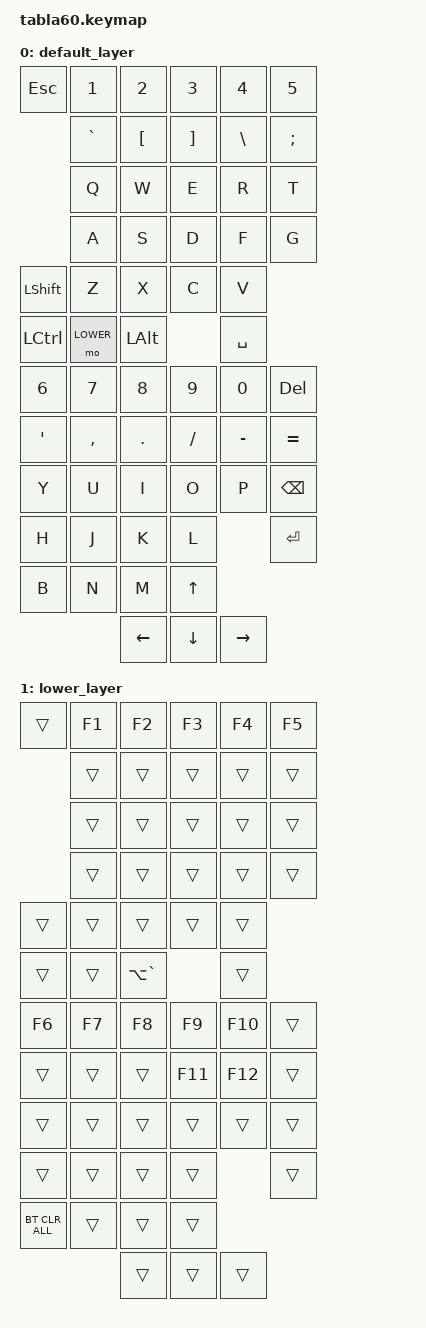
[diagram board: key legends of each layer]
#include <behaviors.dtsi>
#include <dt-bindings/zmk/keys.h>
#include <dt-bindings/zmk/bt.h>
#define DEFAULT 0
#define LOWER 1

/ {
    keymap {
        compatible = "zmk,keymap";

        default_layer {
            bindings = <
            &kp ESC   &kp N1    &kp N2    &kp N3    &kp N4    &kp N5
                      &kp GRAVE &kp LBKT  &kp RBKT  &kp BSLH  &kp SEMI
                      &kp Q     &kp W     &kp E     &kp R     &kp T
                      &kp A     &kp S     &kp D     &kp F     &kp G
            &kp LSHFT &kp Z     &kp X     &kp C     &kp V
            &kp LCTRL &mo LOWER &kp LALT            &kp SPACE
            &kp N6    &kp N7    &kp N8    &kp N9    &kp N0    &kp DEL
            &kp APOS  &kp COMMA &kp DOT   &kp SLASH &kp MINUS &kp EQUAL
            &kp Y     &kp U     &kp I     &kp O     &kp P     &kp BSPC  
            &kp H     &kp J     &kp K     &kp L               &kp ENTER
            &kp B     &kp N     &kp M     &kp UP
                                &kp LEFT  &kp DOWN  &kp RIGHT
            >;
        };

        lower_layer {
            bindings = <
            &trans         &kp F1 &kp F2        &kp F3  &kp F4  &kp F5
                           &trans &trans        &trans  &trans  &trans
                           &trans &trans        &trans  &trans  &trans
                           &trans &trans        &trans  &trans  &trans 
            &trans         &trans &trans        &trans  &trans
            &trans         &trans &kp LA(GRAVE)         &trans
            &kp F6         &kp F7 &kp F8        &kp F9  &kp F10 &trans 
            &trans         &trans &trans        &kp F11 &kp F12 &trans
            &trans         &trans &trans        &trans  &trans  &trans
            &trans         &trans &trans        &trans          &trans
            &bt BT_CLR_ALL &trans &trans        &trans
                                  &trans        &trans  &trans
            >;
        };
    };
};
